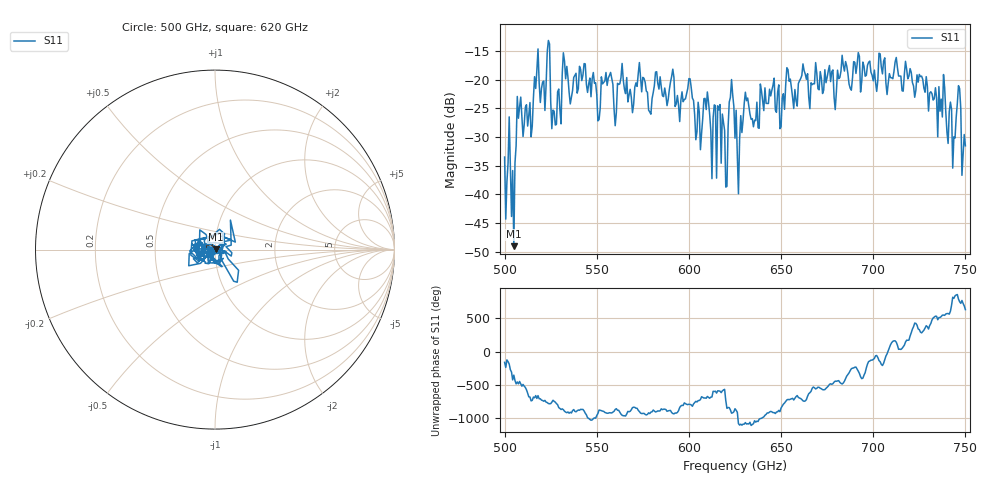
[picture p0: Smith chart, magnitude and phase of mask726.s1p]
!Created with skrf (http://scikit-rf.org).
# GHz S MA R 50.0
!freq magS11 angS11
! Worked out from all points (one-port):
!   401 points, 500 GHz to 750 GHz, reference 50 ohm
!   lowest |S11| = -49.0 dB at 505 GHz (marker M1), VSWR 1.01, Z = 50.4 + j0.0599 ohm
!   |S11| at or under -10 dB: start of sweep to end of sweep
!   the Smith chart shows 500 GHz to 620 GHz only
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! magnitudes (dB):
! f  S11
! 500 GHz  -33.5
! 505 GHz  -49.0
! 508.1 GHz  -24.7
! 513.8 GHz  -24.0
! 516.9 GHz  -21.5
! 523.8 GHz  -13.2
! 526.9 GHz  -25.5
! 531.2 GHz  -19.1
! 542.5 GHz  -19.2
! 550.6 GHz  -27.2
! 562.5 GHz  -20.7
! 579.4 GHz  -26.0
! 590.6 GHz  -19.4
! 593.8 GHz  -22.8
! 600.6 GHz  -19.8
! 605 GHz  -23.9
! 609.4 GHz  -25.2
! 620 GHz  -38.7
! 623.1 GHz  -20.0
! 625 GHz  -30.2
! 627.5 GHz  -30.5
! 631.2 GHz  -23.7
! 656.2 GHz  -23.1
! 687.5 GHz  -21.5
! 718.8 GHz  -19.8
! 743.8 GHz  -30.0
! 746.2 GHz  -21.0
! 750 GHz  -31.5
